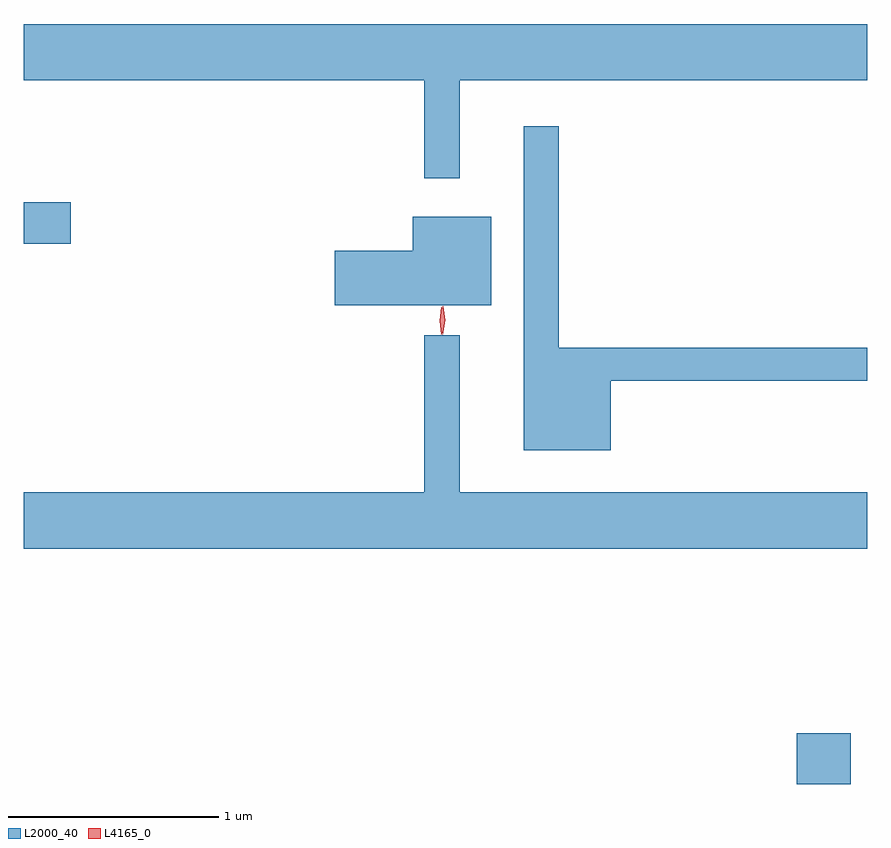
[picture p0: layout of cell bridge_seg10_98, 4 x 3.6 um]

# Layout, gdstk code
import gdstk
lib = gdstk.Library(unit=1e-6, precision=1e-09)
def R(c, l, rs):  # rectangles x0, y0, x1, y1
    for r in rs: c.add(gdstk.rectangle(r[:2], r[2:], *l))
def P(c, l, *ps):  # polygons
    for p in ps: c.add(gdstk.Polygon(p, *l))
L2000_40 = (2000, 40)
L4165_0 = (4165, 0)

bridge_seg10_98 = lib.new_cell('bridge_seg10_98')
R(bridge_seg10_98, L2000_40, [(1567.986,2095.039,1568.244,2095.279), (1564.321,2097.601,1564.544,2097.799)])
P(bridge_seg10_98, L2000_40, [(1566.389,2098.376),(1568.321,2098.376),(1568.321,2098.644),(1564.321,2098.644),(1564.321,2098.376),(1566.221,2098.376),(1566.221,2097.913),(1566.389,2097.913)],
  [(1567.104,2096.951),(1568.321,2096.951),(1568.321,2097.109),(1566.859,2097.109),(1566.859,2098.158),(1566.691,2098.158),(1566.691,2096.621),(1567.104,2096.621)],
  [(1566.539,2097.729),(1566.166,2097.729),(1566.166,2097.569),(1565.796,2097.569),(1565.796,2097.311),(1566.539,2097.311)],
  [(1568.321,2096.424),(1566.389,2096.424),(1566.389,2097.168),(1566.221,2097.168),(1566.221,2096.424),(1564.321,2096.424),(1564.321,2096.156),(1568.321,2096.156)])
P(bridge_seg10_98, L4165_0, [(1566.302,2097.173),(1566.293,2097.236),(1566.302,2097.3),(1566.303,2097.3),(1566.303,2097.3),(1566.313,2097.236),(1566.303,2097.173),(1566.303,2097.173)],
  [(1566.308,2097.17),(1566.308,2097.17),(1566.299,2097.238),(1566.309,2097.305),(1566.31,2097.306),(1566.31,2097.305),(1566.319,2097.238),(1566.308,2097.17)])

lib.write_gds('bridge_seg10_98.gds')
